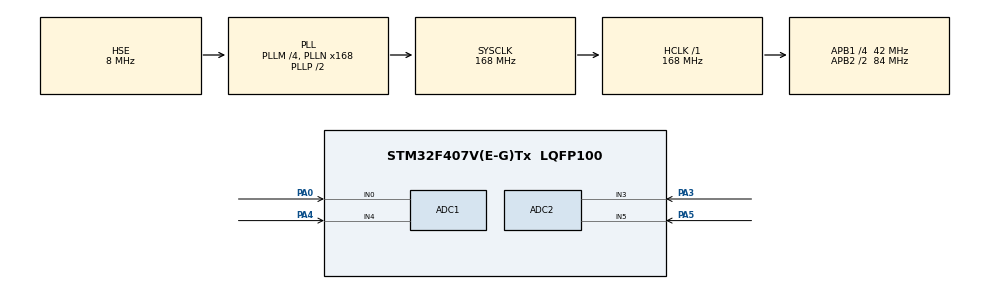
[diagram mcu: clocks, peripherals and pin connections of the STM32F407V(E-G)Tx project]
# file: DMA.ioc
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ADC1.Channel-0\#ChannelRegularConversion=ADC_CHANNEL_0
ADC1.Channel-1\#ChannelRegularConversion=ADC_CHANNEL_4
ADC1.ContinuousConvMode=DISABLE
ADC1.DMAContinuousRequests=ENABLE
ADC1.ExternalTrigConv=ADC_EXTERNALTRIGCONV_T3_TRGO
ADC1.NbrOfConversion=2
ADC1.NbrOfConversionFlag=1
ADC1.Rank-0\#ChannelRegularConversion=1
ADC1.Rank-1\#ChannelRegularConversion=2
ADC1.SamplingTime-0\#ChannelRegularConversion=ADC_SAMPLETIME_3CYCLES
ADC1.SamplingTime-1\#ChannelRegularConversion=ADC_SAMPLETIME_56CYCLES
ADC1.master=1
ADC2.Channel-0\#ChannelRegularConversion=ADC_CHANNEL_3
ADC2.Channel-1\#ChannelRegularConversion=ADC_CHANNEL_5
ADC2.DMAContinuousRequests=ENABLE
ADC2.ExternalTrigConv=ADC_EXTERNALTRIGCONV_T3_TRGO
ADC2.NbrOfConversion=2
ADC2.NbrOfConversionFlag=1
ADC2.Rank-0\#ChannelRegularConversion=1
ADC2.Rank-1\#ChannelRegularConversion=2
ADC2.SamplingTime-0\#ChannelRegularConversion=ADC_SAMPLETIME_3CYCLES
ADC2.SamplingTime-1\#ChannelRegularConversion=ADC_SAMPLETIME_3CYCLES
Dma.ADC1.0.Direction=DMA_PERIPH_TO_MEMORY
Dma.ADC1.0.FIFOMode=DMA_FIFOMODE_DISABLE
Dma.ADC1.0.Instance=DMA2_Stream4
Dma.ADC1.0.MemDataAlignment=DMA_MDATAALIGN_HALFWORD
Dma.ADC1.0.MemInc=DMA_MINC_ENABLE
Dma.ADC1.0.Mode=DMA_CIRCULAR
Dma.ADC1.0.PeriphDataAlignment=DMA_PDATAALIGN_HALFWORD
Dma.ADC1.0.PeriphInc=DMA_PINC_DISABLE
Dma.ADC1.0.Priority=DMA_PRIORITY_LOW
Dma.ADC2.1.Direction=DMA_PERIPH_TO_MEMORY
Dma.ADC2.1.FIFOMode=DMA_FIFOMODE_DISABLE
Dma.ADC2.1.Instance=DMA2_Stream2
Dma.ADC2.1.MemDataAlignment=DMA_MDATAALIGN_HALFWORD
Dma.ADC2.1.MemInc=DMA_MINC_ENABLE
Dma.ADC2.1.Mode=DMA_CIRCULAR
Dma.ADC2.1.PeriphDataAlignment=DMA_PDATAALIGN_HALFWORD
Dma.ADC2.1.PeriphInc=DMA_PINC_DISABLE
Dma.ADC2.1.Priority=DMA_PRIORITY_LOW
Dma.Request0=ADC1
Dma.Request1=ADC2
Mcu.Family=STM32F4
Mcu.Name=STM32F407V(E-G)Tx
Mcu.Package=LQFP100
NVIC.ADC_IRQn=true\:0\:0\:false\:false\:true\:true\:true\:true
NVIC.DMA2_Stream2_IRQn=true\:0\:0\:false\:false\:true\:false\:true\:true
NVIC.DMA2_Stream4_IRQn=true\:0\:0\:false\:false\:true\:false\:true\:true
NVIC.PriorityGroup=NVIC_PRIORITYGROUP_4
PA0-WKUP.Signal=ADCx_IN0
PA13.Mode=Trace_Asynchronous_SW
PA13.Signal=SYS_JTMS-SWDIO
PA14.Mode=Trace_Asynchronous_SW
PA14.Signal=SYS_JTCK-SWCLK
PA3.Signal=ADCx_IN3
PA4.Signal=ADCx_IN4
PA5.Signal=ADCx_IN5
PB3.Mode=Trace_Asynchronous_SW
PB3.Signal=SYS_JTDO-SWO
PH0-OSC_IN.Mode=HSE-External-Oscillator
PH0-OSC_IN.Signal=RCC_OSC_IN
PH1-OSC_OUT.Mode=HSE-External-Oscillator
PH1-OSC_OUT.Signal=RCC_OSC_OUT
ProjectManager.HeapSize=0x200
ProjectManager.StackSize=0x400
ProjectManager.TargetToolchain=STM32CubeIDE
RCC.48MHZClocksFreq_Value=84000000
RCC.AHBFreq_Value=168000000
RCC.APB1CLKDivider=RCC_HCLK_DIV4
RCC.APB1Freq_Value=42000000
RCC.APB1TimFreq_Value=84000000
RCC.APB2CLKDivider=RCC_HCLK_DIV2
RCC.APB2Freq_Value=84000000
RCC.APB2TimFreq_Value=168000000
RCC.CortexFreq_Value=168000000
RCC.HCLKFreq_Value=168000000
RCC.HSE_VALUE=8000000
RCC.HSI_VALUE=16000000
RCC.LSE_VALUE=32768
RCC.PLLM=4
RCC.PLLN=168
RCC.PLLSourceVirtual=RCC_PLLSOURCE_HSE
RCC.SYSCLKFreq_VALUE=168000000
RCC.SYSCLKSource=RCC_SYSCLKSOURCE_PLLCLK
RCC.VCOOutputFreq_Value=336000000
SH.ADCx_IN0.0=ADC1_IN0,IN0
SH.ADCx_IN3.0=ADC2_IN3,IN3
SH.ADCx_IN4.0=ADC1_IN4,IN4
SH.ADCx_IN5.0=ADC2_IN5,IN5
TIM3.Period=50000-1
TIM3.Prescaler=840-1
TIM3.TIM_MasterOutputTrigger=TIM_TRGO_UPDATE
VP_TIM3_VS_ClockSourceINT.Mode=Internal
board=custom

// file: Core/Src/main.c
/* USER CODE BEGIN Header */
/**
  ******************************************************************************
  * @file           : main.c
  * @brief          : Main program body
  ******************************************************************************
  * @attention
  *
  * Copyright (c) 2025 STMicroelectronics.
  * All rights reserved.
  *
  * This software is licensed under terms that can be found in the LICENSE file
  * in the root directory of this software component.
  * If no LICENSE file comes with this software, it is provided AS-IS.
  *
  ******************************************************************************
  */
/* USER CODE END Header */
#include "main.h"
#include "adc.h"
#include "dma.h"
#include "tim.h"
#include "gpio.h"

/* USER CODE BEGIN Includes */
#include <stdio.h>
#include "RC_LowPassFilter.h"
/* USER CODE END Includes */

/* USER CODE BEGIN PTD */
typedef struct app{
	uint16_t adc1[2];
	uint16_t adc2[2];

	float adc1F[2];
	float adc2F[2];

	float T;

	float V;
}app_t;
/* USER CODE END PTD */

void SystemClock_Config(void);

/* USER CODE BEGIN 0 */
app_t data;
RC_LowPassFilter_t F1;
RC_LowPassFilter_t F2;

int __io_putchar(int ch){
	ITM_SendChar(ch);
	return ch;
}
/* USER CODE END 0 */

int main(void)
{

  /* MCU Configuration--------------------------------------------------------*/

  /* Reset of all peripherals, Initializes the Flash interface and the Systick. */
  HAL_Init();

  /* Configure the system clock */
  SystemClock_Config();

  /* Initialize all configured peripherals */
  MX_GPIO_Init();
  MX_DMA_Init();
  MX_ADC1_Init();
  MX_TIM3_Init();
  MX_ADC2_Init();
  /* USER CODE BEGIN 2 */
//  HAL_ADC_RegisterCallback(hadc, CallbackID, pCallback)
  RC_LowPassFilter_Init(&F1, 1, 1E-3);
  RC_LowPassFilter_Init(&F2, 3, 1E-3);

  HAL_ADC_Start_DMA(&hadc1,(uint32_t *)data.adc1, 2);
  HAL_ADC_Start_DMA(&hadc2,(uint32_t *)data.adc2, 2);

  HAL_TIM_Base_Start(&htim3);
  /* USER CODE END 2 */

  /* Infinite loop */
  while (1)
  {

  }
}

void SystemClock_Config(void)
{
  RCC_OscInitTypeDef RCC_OscInitStruct = {0};
  RCC_ClkInitTypeDef RCC_ClkInitStruct = {0};

  /** Configure the main internal regulator output voltage
  */
  __HAL_RCC_PWR_CLK_ENABLE();
  __HAL_PWR_VOLTAGESCALING_CONFIG(PWR_REGULATOR_VOLTAGE_SCALE1);

  /** Initializes the RCC Oscillators according to the specified parameters
  * in the RCC_OscInitTypeDef structure.
  */
  RCC_OscInitStruct.OscillatorType = RCC_OSCILLATORTYPE_HSE;
  RCC_OscInitStruct.HSEState = RCC_HSE_ON;
  RCC_OscInitStruct.PLL.PLLState = RCC_PLL_ON;
  RCC_OscInitStruct.PLL.PLLSource = RCC_PLLSOURCE_HSE;
  RCC_OscInitStruct.PLL.PLLM = 4;
  RCC_OscInitStruct.PLL.PLLN = 168;
  RCC_OscInitStruct.PLL.PLLP = RCC_PLLP_DIV2;
  RCC_OscInitStruct.PLL.PLLQ = 4;
  if (HAL_RCC_OscConfig(&RCC_OscInitStruct) != HAL_OK)
  {
    Error_Handler();
  }

  /** Initializes the CPU, AHB and APB buses clocks
  */
  RCC_ClkInitStruct.ClockType = RCC_CLOCKTYPE_HCLK|RCC_CLOCKTYPE_SYSCLK
                              |RCC_CLOCKTYPE_PCLK1|RCC_CLOCKTYPE_PCLK2;
  RCC_ClkInitStruct.SYSCLKSource = RCC_SYSCLKSOURCE_PLLCLK;
  RCC_ClkInitStruct.AHBCLKDivider = RCC_SYSCLK_DIV1;
  RCC_ClkInitStruct.APB1CLKDivider = RCC_HCLK_DIV4;
  RCC_ClkInitStruct.APB2CLKDivider = RCC_HCLK_DIV2;

  if (HAL_RCC_ClockConfig(&RCC_ClkInitStruct, FLASH_LATENCY_5) != HAL_OK)
  {
    Error_Handler();
  }
}

/* USER CODE BEGIN 4 */
void HAL_ADC_ConvCpltCallback(ADC_HandleTypeDef *hadc)
{
	if(hadc->Instance == ADC1){
//		printf("conversion finalizado ADC1\r\n");
		//Process
		data.adc1F[0] = RC_LowPassFilter_Appy(&F1, data.adc1[0]);

		data.V = (3.3/4095)* data.adc1F[0];

	}
	else if(hadc->Instance == ADC2){
//		printf("conversion finalizado ADC2\r\n");

		data.adc2F[0] = RC_LowPassFilter_Appy(&F2, data.adc2[0]);

		data.T = (3.3/4095)* data.adc2F[0];

	}
}
/* USER CODE END 4 */

void Error_Handler(void)
{
  __disable_irq();
  while (1)
  {
  }
}
